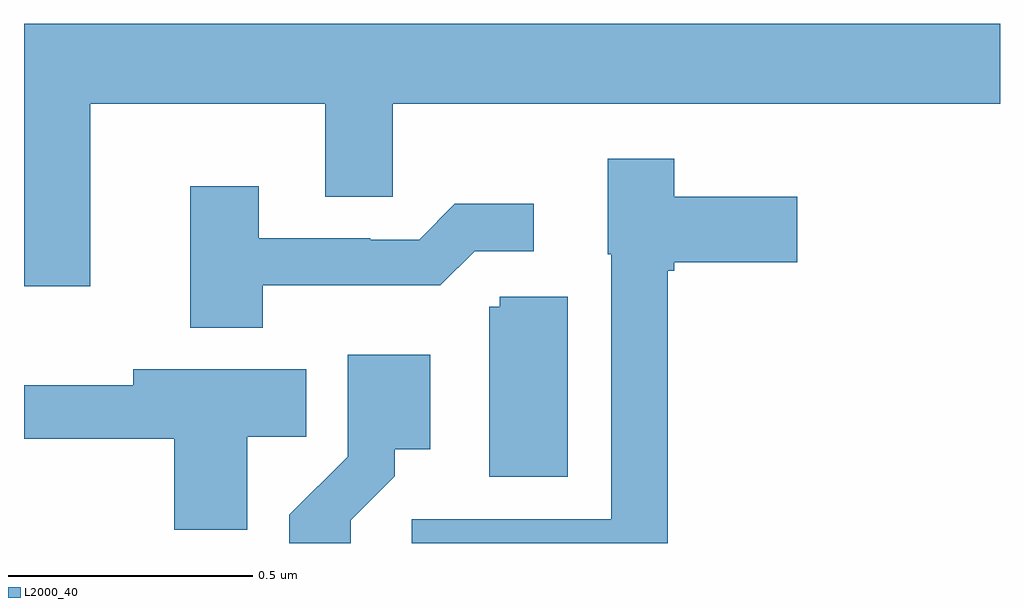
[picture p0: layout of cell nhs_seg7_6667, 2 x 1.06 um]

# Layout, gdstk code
import gdstk
lib = gdstk.Library(unit=1e-6, precision=1e-09)
def P(c, l, *ps):  # polygons
    for p in ps: c.add(gdstk.Polygon(p, *l))
L2000_40 = (2000, 40)

nhs_seg7_6667 = lib.new_cell('nhs_seg7_6667')
P(nhs_seg7_6667, L2000_40, [(201.136,1049.9),(201.617,1049.9),(201.617,1049.71),(201.756,1049.71),(201.756,1049.9),(203,1049.9),(203,1050.064),(201,1050.064),(201,1049.526),(201.136,1049.526)],
  [(202.319,1049.558),(202.332,1049.558),(202.332,1049.576),(202.585,1049.576),(202.585,1049.71),(202.332,1049.71),(202.332,1049.788),(202.196,1049.788),(202.196,1049.592),(202.203,1049.592),(202.203,1049.049),(201.795,1049.049),(201.795,1049),(202.319,1049)],
  [(201.489,1049.528),(201.853,1049.528),(201.924,1049.598),(202.045,1049.598),(202.045,1049.695),(201.883,1049.695),(201.81,1049.622),(201.71,1049.622),(201.71,1049.625),(201.481,1049.625),(201.481,1049.731),(201.341,1049.731),(201.341,1049.441),(201.489,1049.441)],
  [(202.114,1049.505),(201.975,1049.505),(201.975,1049.484),(201.953,1049.484),(201.953,1049.136),(202.114,1049.136)],
  [(201.67,1049.047),(201.76,1049.137),(201.76,1049.192),(201.832,1049.192),(201.832,1049.386),(201.663,1049.386),(201.663,1049.177),(201.544,1049.058),(201.544,1049),(201.67,1049)],
  [(201.457,1049.218),(201.578,1049.218),(201.578,1049.356),(201.224,1049.356),(201.224,1049.324),(201,1049.324),(201,1049.214),(201.308,1049.214),(201.308,1049.027),(201.457,1049.027)])

lib.write_gds('nhs_seg7_6667.gds')
